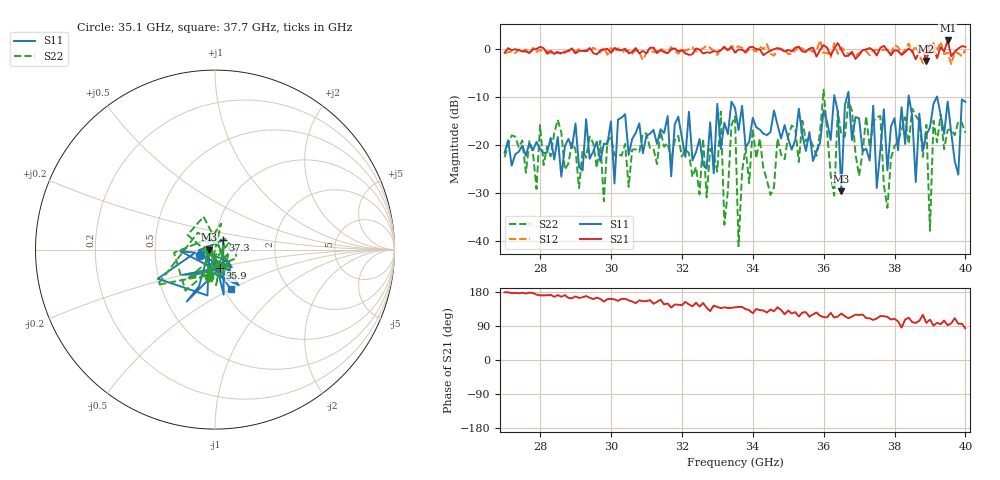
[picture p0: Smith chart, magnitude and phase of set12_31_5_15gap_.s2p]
! Quiescent point : V1=-1.63289E-02 I1=+1.27576E-03 V2=-2.19057E-02 I2=-1.26040E-03
! Pulsed point : V1=-1.58003E-02 I1=+1.26430E-03 V2=-2.22388E-02 I2=-1.25258E-03
! Period : +2.00000E-04
! Input Supply timing : delay=+1.60000E-06 width=+2.20000E-06
! Output Supply timing : delay=+1.70000E-06 width=+2.00000E-06
! VNA timing : delay=+2.40000E-06 width=+1.10000E-06
# Hz S RI R 50
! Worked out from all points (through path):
!   131 points, 27 GHz to 40 GHz, reference 50 ohm
!   highest |S21| = 1.77 dB at 39.5 GHz (marker M1); lowest = -2.5 dB at 38.9 GHz (marker M2)
!   group delay of S21, straight-line fit = 18.3 ps
!   lowest |S11| = -29.7 dB at 36.5 GHz (marker M3), VSWR 1.07, Z = 46.8 - j0.0111 ohm
!   |S11| at or under -10 dB: start of sweep to 36.3 GHz; 36.71 GHz to 38.4 GHz (1.686 GHz wide, 4.49 % of centre); 39.2 GHz to end of sweep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
!   |S22| runs from -41.2 to -8.5 dB; largest |S21 - S12| = 0.36
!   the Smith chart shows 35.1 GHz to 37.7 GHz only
!   S11 on the Smith chart (normalised r, x): 35.1 GHz: 0.84, -0.05; 35.9 GHz: 1.03, -0.21; 37.3 GHz: 1.09, +0.11; 37.7 GHz: 1.07, -0.49
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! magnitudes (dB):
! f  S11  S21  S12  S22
! 27 GHz  -21.6  -0.8  -0.9  -22.6
! 29.2 GHz  -25.4  -0.4  -0.5  -21.2
! 31.4 GHz  -16.8  -0.2  0.1  -17.1
! 32.7 GHz  -25.0  -0.7  0.7  -31.0
! 33.1 GHz  -20.9  -0.3  0.0  -13.1
! 33.2 GHz  -15.4  0.4  0.5  -36.7
! 33.5 GHz  -12.3  -0.8  0.3  -14.1
! 33.6 GHz  -17.0  -0.1  0.5  -41.2
! 34 GHz  -14.4  0.4  -0.2  -16.6
! 35.1 GHz  -21.0  -0.5  -1.1  -16.0
! 35.7 GHz  -23.4  0.3  -0.6  -20.3
! 35.9 GHz  -19.6  -0.2  1.8  -17.3
! 36.5 GHz  -29.7  -0.2  0.3  -18.0
! 36.7 GHz  -8.9  -1.4  -1.1  -11.0
! 37.3 GHz  -23.3  0.2  -1.3  -20.5
! 37.7 GHz  -12.6  0.6  -0.1  -28.5
! 37.9 GHz  -16.2  -1.3  -0.9  -22.8
! 38.9 GHz  -17.9  -2.5  -0.9  -15.8
! 39 GHz  -16.4  0.9  -0.9  -37.9
! 39.1 GHz  -11.5  0.2  1.2  -15.0
! 39.5 GHz  -11.0  1.8  -0.8  -16.9
! 40 GHz  -11.0  0.4  -0.2  -17.5
